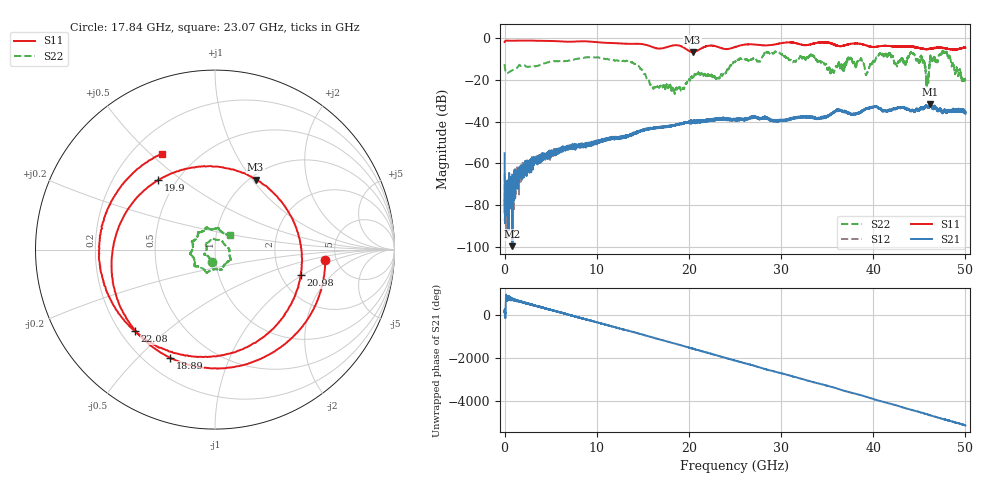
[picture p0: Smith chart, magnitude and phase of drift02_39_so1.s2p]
!Created with skrf (http://scikit-rf.org).
# Hz S RI R 50.0
!freq ReS11 ImS11 ReS21 ImS21 ReS12 ImS12 ReS22 ImS22
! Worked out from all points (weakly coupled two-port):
!   10001 points, 300 kHz to 50 GHz, reference 50 ohm
!   highest |S21| = -31.65 dB at 46.21 GHz (marker M1); lowest = -99.5 dB at 850.3 MHz (marker M2)
!   lowest |S11| = -6.9 dB at 20.4 GHz (marker M3), VSWR 2.64, Z = 53 + j51.9 ohm
!   |S11| at or under -10 dB: nowhere
!   |S22| runs from -26.8 to -6.1 dB; largest |S21 - S12| = 0.0032
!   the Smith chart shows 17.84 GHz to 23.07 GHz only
!   S11 on the Smith chart (normalised r, x): 17.84 GHz: 4.08, -0.73; 18.89 GHz: 0.30, -0.63; 19.9 GHz: 0.40, +0.41; 20.98 GHz: 2.56, -0.97; 22.08 GHz: 0.26, -0.40; 23.07 GHz: 0.32, +0.55
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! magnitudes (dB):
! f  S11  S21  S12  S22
! 300 kHz  -2.1  -55.1  -64.9  -12.7
! 260.3 MHz  -1.4  -78.8  -76.0  -17.0
! 850.3 MHz  -1.5  -99.5  -71.7  -15.5
! 8.335 GHz  -1.7  -51.4  -51.4  -9.7
! 13.71 GHz  -2.9  -46.3  -46.2  -11.6
! 16.67 GHz  -5.2  -42.7  -43.0  -23.6
! 17.84 GHz  -4.2  -42.2  -42.3  -23.2
! 18.89 GHz  -3.7  -41.4  -41.3  -24.1
! 19.9 GHz  -6.0  -40.6  -40.2  -19.9
! 20.4 GHz  -6.9  -39.8  -39.8  -19.0
! 20.98 GHz  -6.1  -40.2  -40.0  -16.8
! 22.08 GHz  -3.9  -39.6  -39.6  -17.6
! 23.07 GHz  -4.3  -39.0  -38.9  -18.9
! 25 GHz  -4.5  -39.0  -39.5  -11.5
! 33.34 GHz  -3.1  -38.1  -38.0  -8.4
! 39.33 GHz  -3.8  -33.7  -33.7  -16.8
! 41.67 GHz  -3.9  -34.7  -34.5  -7.9
! 44.26 GHz  -4.3  -34.8  -34.7  -7.4
! 45.85 GHz  -5.4  -32.9  -32.7  -19.0
! 46.21 GHz  -5.3  -31.7  -31.8  -9.0
! 47.75 GHz  -5.0  -34.5  -34.3  -7.3
! 50 GHz  -4.8  -36.2  -35.7  -19.1
